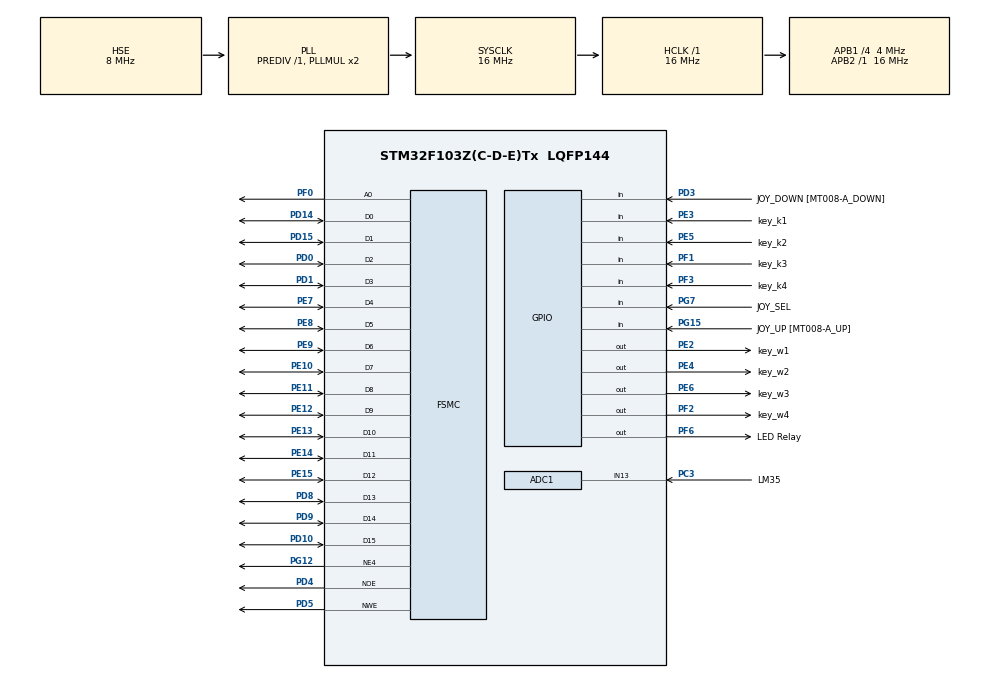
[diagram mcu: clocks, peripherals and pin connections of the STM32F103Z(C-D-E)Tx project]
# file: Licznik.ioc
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ADC1.Channel-1\#ChannelRegularConversion=ADC_CHANNEL_13
ADC1.NbrOfConversionFlag=1
ADC1.Rank-1\#ChannelRegularConversion=1
ADC1.SamplingTime-1\#ChannelRegularConversion=ADC_SAMPLETIME_1CYCLE_5
ADC1.master=1
Mcu.Family=STM32F1
Mcu.Name=STM32F103Z(C-D-E)Tx
Mcu.Package=LQFP144
NVIC.PriorityGroup=NVIC_PRIORITYGROUP_4
NVIC.TIM6_IRQn=true\:0\:0\:false\:false\:true\:true\:true
NVIC.TIM7_IRQn=true\:0\:0\:false\:false\:true\:true\:true
OSC_IN.Mode=HSE-External-Oscillator
OSC_IN.Signal=RCC_OSC_IN
OSC_OUT.Mode=HSE-External-Oscillator
OSC_OUT.Signal=RCC_OSC_OUT
PC3.GPIO_Label=LM35
PC3.Signal=ADCx_IN13
PD0.Signal=FSMC_D2_DA2
PD1.Signal=FSMC_D3_DA3
PD10.Signal=FSMC_D15_DA15
PD14.Signal=FSMC_D0_DA0
PD15.Signal=FSMC_D1_DA1
PD3.GPIO_Label=JOY_DOWN [MT008-A_DOWN]
PD3.GPIO_PuPd=GPIO_PULLUP
PD3.Signal=GPIO_Input
PD4.Signal=FSMC_NOE
PD5.Signal=FSMC_NWE
PD8.Signal=FSMC_D13_DA13
PD9.Signal=FSMC_D14_DA14
PE10.Signal=FSMC_D7_DA7
PE11.Signal=FSMC_D8_DA8
PE12.Signal=FSMC_D9_DA9
PE13.Signal=FSMC_D10_DA10
PE14.Signal=FSMC_D11_DA11
PE15.Signal=FSMC_D12_DA12
PE2.GPIO_Label=key_w1
PE2.Signal=GPIO_Output
PE3.GPIO_Label=key_k1
PE3.GPIO_PuPd=GPIO_PULLUP
PE3.Signal=GPIO_Input
PE4.GPIO_Label=key_w2
PE4.Signal=GPIO_Output
PE5.GPIO_Label=key_k2
PE5.GPIO_PuPd=GPIO_PULLUP
PE5.Signal=GPIO_Input
PE6.GPIO_Label=key_w3
PE6.Signal=GPIO_Output
PE7.Signal=FSMC_D4_DA4
PE8.Signal=FSMC_D5_DA5
PE9.Signal=FSMC_D6_DA6
PF0.Signal=FSMC_A0
PF1.GPIO_Label=key_k3
PF1.GPIO_PuPd=GPIO_PULLUP
PF1.Signal=GPIO_Input
PF2.GPIO_Label=key_w4
PF2.Signal=GPIO_Output
PF3.GPIO_Label=key_k4
PF3.GPIO_PuPd=GPIO_PULLUP
PF3.Signal=GPIO_Input
PF6.GPIO_Label=LED Relay
PF6.GPIO_ModeDefaultOutputPP=GPIO_MODE_OUTPUT_PP
PF6.PinState=GPIO_PIN_RESET
PF6.Signal=GPIO_Output
PG12.Mode=NorPsramChipSelect4_3
PG12.Signal=FSMC_NE4
PG15.GPIO_Label=JOY_UP [MT008-A_UP]
PG15.Signal=GPIO_Input
PG7.GPIO_Label=JOY_SEL
PG7.Signal=GPIO_Input
ProjectManager.HeapSize=0x200
ProjectManager.StackSize=0x400
ProjectManager.TargetToolchain=MDK-ARM V5.27
RCC.AHBFreq_Value=16000000
RCC.APB1CLKDivider=RCC_HCLK_DIV4
RCC.APB1Freq_Value=4000000
RCC.APB1TimFreq_Value=8000000
RCC.APB2Freq_Value=16000000
RCC.APB2TimFreq_Value=16000000
RCC.HCLKFreq_Value=16000000
RCC.PLLSourceVirtual=RCC_PLLSOURCE_HSE
RCC.SYSCLKFreq_VALUE=16000000
RCC.SYSCLKSource=RCC_SYSCLKSOURCE_PLLCLK
RCC.USBFreq_Value=16000000
SH.ADCx_IN13.0=ADC1_IN13,IN13
SH.FSMC_A0.0=FSMC_A0,A0_3
SH.FSMC_D0_DA0.0=FSMC_D0,16b-d3
SH.FSMC_D10_DA10.0=FSMC_D10,16b-d3
SH.FSMC_D11_DA11.0=FSMC_D11,16b-d3
SH.FSMC_D12_DA12.0=FSMC_D12,16b-d3
SH.FSMC_D13_DA13.0=FSMC_D13,16b-d3
SH.FSMC_D14_DA14.0=FSMC_D14,16b-d3
SH.FSMC_D15_DA15.0=FSMC_D15,16b-d3
SH.FSMC_D1_DA1.0=FSMC_D1,16b-d3
SH.FSMC_D2_DA2.0=FSMC_D2,16b-d3
SH.FSMC_D3_DA3.0=FSMC_D3,16b-d3
SH.FSMC_D4_DA4.0=FSMC_D4,16b-d3
SH.FSMC_D5_DA5.0=FSMC_D5,16b-d3
SH.FSMC_D6_DA6.0=FSMC_D6,16b-d3
SH.FSMC_D7_DA7.0=FSMC_D7,16b-d3
SH.FSMC_D8_DA8.0=FSMC_D8,16b-d3
SH.FSMC_D9_DA9.0=FSMC_D9,16b-d3
SH.FSMC_NOE.0=FSMC_NOE,Lcd3
SH.FSMC_NWE.0=FSMC_NWE,Lcd3
TIM6.Period=7999
TIM6.Prescaler=4999
TIM7.Period=7999
TIM7.Prescaler=9
VP_SYS_VS_ND.Mode=No_Debug
VP_TIM6_VS_ClockSourceINT.Mode=Enable_Timer
VP_TIM7_VS_ClockSourceINT.Mode=Enable_Timer
board=custom

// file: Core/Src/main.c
/* USER CODE BEGIN Header */
/**
  ******************************************************************************
  * @file           : main.c
  * @brief          : Main program body
  ******************************************************************************
  * @attention
  *
  * <h2><center>&copy; Copyright (c) 2021 STMicroelectronics.
  * All rights reserved.</center></h2>
  *
  * This software component is licensed by ST under BSD 3-Clause license,
  * the "License"; You may not use this file except in compliance with the
  * License. You may obtain a copy of the License at:
  *                        opensource.org/licenses/BSD-3-Clause
  *
  ******************************************************************************
  */
/* USER CODE END Header */
#include "main.h"

/* USER CODE BEGIN Includes */
#include "lcd.h"
#include "stdio.h"
/* USER CODE END Includes */

/* USER CODE BEGIN PM */
#define Title1 "       SYSTEM       "
#define Title2 "     OGRZEWANIA     "
/* USER CODE END PM */

ADC_HandleTypeDef hadc1;

TIM_HandleTypeDef htim6;
TIM_HandleTypeDef htim7;

SRAM_HandleTypeDef hsram3;

void SystemClock_Config(void);
static void MX_GPIO_Init(void);
static void MX_TIM7_Init(void);
static void MX_FSMC_Init(void);
static void MX_ADC1_Init(void);
static void MX_TIM6_Init(void);

/* USER CODE BEGIN 0 */
volatile uint8_t JOY_UP=0, JOY_DOWN=0, JOY_SEL=0;
volatile float temperatura_C;
volatile uint8_t znak=0;
volatile uint8_t symbol=99;
volatile uint8_t klawisz_0=0;
volatile uint8_t klawisz_1=0;
volatile uint8_t klawisz_2=0;
volatile uint8_t klawisz_3=0;
volatile uint8_t klawisz_4=0;
volatile uint8_t klawisz_5=0;
volatile uint8_t klawisz_6=0;
volatile uint8_t klawisz_7=0;
volatile uint8_t klawisz_8=0;
volatile uint8_t klawisz_9=0;
volatile uint8_t klawisz_A=0;
volatile uint8_t klawisz_B=0;
volatile uint8_t klawisz_C=0;
volatile uint8_t klawisz_D=0;
volatile uint8_t klawisz_K=0;
volatile uint8_t klawisz_G=0;
volatile uint8_t n=0;
/* USER CODE END 0 */

int main(void)
{

  /* MCU Configuration--------------------------------------------------------*/

  /* Reset of all peripherals, Initializes the Flash interface and the Systick. */
  HAL_Init();

  /* Configure the system clock */
  SystemClock_Config();

  /* Initialize all configured peripherals */
  MX_GPIO_Init();
  MX_TIM7_Init();
  MX_FSMC_Init();
  MX_ADC1_Init();
  MX_TIM6_Init();
  /* USER CODE BEGIN 2 */
	HAL_TIM_Base_Start_IT(&htim7);
	HAL_TIM_Base_Start(&htim7);
	HAL_ADC_Start(&hadc1);
	//while(HAL_ADCEx_Calibration_Start(&hadc1) != HAL_OK);
	HAL_TIM_Base_Start_IT(&htim6);
	HAL_TIM_Base_Start(&htim6);

	float licznik=20;
	float histereza=5;
	uint8_t temp_zad[20];
	uint8_t temp_akt[20];
	uint8_t histereza_disp[20];
	uint8_t z=0;

	STM3210E_LCD_Init();
	LCD_Clear(Black);
  LCD_SetBackColor(Black);
	LCD_SetTextColor(Green);
	LCD_DisplayStringLine(Line0, Title1);
	LCD_DisplayStringLine(Line1, Title2);
  LCD_SetBackColor(Black);                        // Set the Back Color */
  LCD_SetTextColor(Red);
	snprintf((char *)temp_zad, 20, "Temp. Zad. : %.1f*C   ", licznik);
	LCD_DisplayStringLine(Line3, temp_zad);
	snprintf((char *)histereza_disp, 20, "Histereza : %.1f*C   ", histereza);
	LCD_DisplayStringLine(Line7, histereza_disp);
  /* USER CODE END 2 */

  /* Infinite loop */
  /* USER CODE BEGIN WHILE */
  while (1)
  {
		//klawiatura
		if (symbol == 10)
		{
			LCD_SetBackColor(Black);
			LCD_DisplayStringLine(Line3, temp_zad);
			LCD_SetBackColor(White);
			LCD_DisplayStringLine(Line7, histereza_disp);
				switch (n) {
					case 1 :
						histereza=0.1*znak;
						z=0;
					break;
					case 2 :
						if (!(z&1)){
						histereza *= 10;
						histereza += 0.1*znak;
						z++;
						}
					break;
					case 3:
						if(z&1){
						histereza *= 10;
						histereza += 0.1*znak;
						z++;
						n=0;
						}
					break;
				}
				snprintf((char *)histereza_disp, 20, "Histereza : %.1f*C   ", histereza);
				LCD_DisplayStringLine(Line7, histereza_disp);
		}

		if (symbol == 11)
		{
			LCD_SetBackColor(White);
			LCD_DisplayStringLine(Line3, temp_zad);
			LCD_SetBackColor(Black);
			LCD_DisplayStringLine(Line7, histereza_disp);
				switch (n) {
					case 1 :
						licznik=0.1*znak;
						z=0;
					break;
					case 2 :
						if (!(z&1)){
						licznik *= 10;
						licznik += 0.1*znak;
						z++;
						}
					break;
					case 3:
						if(z&1){
						licznik *= 10;
						licznik += 0.1*znak;
						z++;
						n=0;
						}
					break;
				}
				LCD_SetBackColor(White);
				snprintf((char *)temp_zad, 20, "Temp. Zad. : %.1f*C   ", licznik);
				LCD_DisplayStringLine(Line3, temp_zad);
		}
		if(symbol !=10 && symbol !=11){
			znak=0;
			n=0;
			LCD_SetBackColor(Black);
			LCD_DisplayStringLine(Line3, temp_zad);
			LCD_SetBackColor(Black);
			LCD_DisplayStringLine(Line7, histereza_disp);
		}

			LCD_SetBackColor(Black);
			snprintf((char *)temp_akt, 20, "Temp. Akt. : %.1f*C     ", temperatura_C);
			LCD_DisplayStringLine(Line5, temp_akt);

		if (temperatura_C<licznik-histereza)
			GPIOF->ODR |= (1<<6);
		if (temperatura_C>licznik+histereza)
			GPIOF->ODR &= ~(1<<6);
		}
    /* USER CODE END WHILE */

}

void SystemClock_Config(void)
{
  RCC_OscInitTypeDef RCC_OscInitStruct = {0};
  RCC_ClkInitTypeDef RCC_ClkInitStruct = {0};
  RCC_PeriphCLKInitTypeDef PeriphClkInit = {0};

  /** Initializes the RCC Oscillators according to the specified parameters
  * in the RCC_OscInitTypeDef structure.
  */
  RCC_OscInitStruct.OscillatorType = RCC_OSCILLATORTYPE_HSE;
  RCC_OscInitStruct.HSEState = RCC_HSE_ON;
  RCC_OscInitStruct.HSEPredivValue = RCC_HSE_PREDIV_DIV1;
  RCC_OscInitStruct.HSIState = RCC_HSI_ON;
  RCC_OscInitStruct.PLL.PLLState = RCC_PLL_ON;
  RCC_OscInitStruct.PLL.PLLSource = RCC_PLLSOURCE_HSE;
  RCC_OscInitStruct.PLL.PLLMUL = RCC_PLL_MUL2;
  if (HAL_RCC_OscConfig(&RCC_OscInitStruct) != HAL_OK)
  {
    Error_Handler();
  }
  /** Initializes the CPU, AHB and APB buses clocks
  */
  RCC_ClkInitStruct.ClockType = RCC_CLOCKTYPE_HCLK|RCC_CLOCKTYPE_SYSCLK
                              |RCC_CLOCKTYPE_PCLK1|RCC_CLOCKTYPE_PCLK2;
  RCC_ClkInitStruct.SYSCLKSource = RCC_SYSCLKSOURCE_PLLCLK;
  RCC_ClkInitStruct.AHBCLKDivider = RCC_SYSCLK_DIV1;
  RCC_ClkInitStruct.APB1CLKDivider = RCC_HCLK_DIV4;
  RCC_ClkInitStruct.APB2CLKDivider = RCC_HCLK_DIV1;

  if (HAL_RCC_ClockConfig(&RCC_ClkInitStruct, FLASH_LATENCY_0) != HAL_OK)
  {
    Error_Handler();
  }
  PeriphClkInit.PeriphClockSelection = RCC_PERIPHCLK_ADC;
  PeriphClkInit.AdcClockSelection = RCC_ADCPCLK2_DIV2;
  if (HAL_RCCEx_PeriphCLKConfig(&PeriphClkInit) != HAL_OK)
  {
    Error_Handler();
  }
}

static void MX_ADC1_Init(void)
{

  ADC_ChannelConfTypeDef sConfig = {0};

  /** Common config
  */
  hadc1.Instance = ADC1;
  hadc1.Init.ScanConvMode = ADC_SCAN_DISABLE;
  hadc1.Init.ContinuousConvMode = DISABLE;
  hadc1.Init.DiscontinuousConvMode = DISABLE;
  hadc1.Init.ExternalTrigConv = ADC_SOFTWARE_START;
  hadc1.Init.DataAlign = ADC_DATAALIGN_RIGHT;
  hadc1.Init.NbrOfConversion = 1;
  if (HAL_ADC_Init(&hadc1) != HAL_OK)
  {
    Error_Handler();
  }
  /** Configure Regular Channel
  */
  sConfig.Channel = ADC_CHANNEL_13;
  sConfig.Rank = ADC_REGULAR_RANK_1;
  sConfig.SamplingTime = ADC_SAMPLETIME_1CYCLE_5;
  if (HAL_ADC_ConfigChannel(&hadc1, &sConfig) != HAL_OK)
  {
    Error_Handler();
  }

}

static void MX_TIM6_Init(void)
{

  TIM_MasterConfigTypeDef sMasterConfig = {0};

  htim6.Instance = TIM6;
  htim6.Init.Prescaler = 4999;
  htim6.Init.CounterMode = TIM_COUNTERMODE_UP;
  htim6.Init.Period = 7999;
  htim6.Init.AutoReloadPreload = TIM_AUTORELOAD_PRELOAD_DISABLE;
  if (HAL_TIM_Base_Init(&htim6) != HAL_OK)
  {
    Error_Handler();
  }
  sMasterConfig.MasterOutputTrigger = TIM_TRGO_RESET;
  sMasterConfig.MasterSlaveMode = TIM_MASTERSLAVEMODE_DISABLE;
  if (HAL_TIMEx_MasterConfigSynchronization(&htim6, &sMasterConfig) != HAL_OK)
  {
    Error_Handler();
  }

}

static void MX_TIM7_Init(void)
{

  TIM_MasterConfigTypeDef sMasterConfig = {0};

  htim7.Instance = TIM7;
  htim7.Init.Prescaler = 9;
  htim7.Init.CounterMode = TIM_COUNTERMODE_UP;
  htim7.Init.Period = 7999;
  htim7.Init.AutoReloadPreload = TIM_AUTORELOAD_PRELOAD_DISABLE;
  if (HAL_TIM_Base_Init(&htim7) != HAL_OK)
  {
    Error_Handler();
  }
  sMasterConfig.MasterOutputTrigger = TIM_TRGO_RESET;
  sMasterConfig.MasterSlaveMode = TIM_MASTERSLAVEMODE_DISABLE;
  if (HAL_TIMEx_MasterConfigSynchronization(&htim7, &sMasterConfig) != HAL_OK)
  {
    Error_Handler();
  }

}

static void MX_GPIO_Init(void)
{
  GPIO_InitTypeDef GPIO_InitStruct = {0};

  /* GPIO Ports Clock Enable */
  __HAL_RCC_GPIOE_CLK_ENABLE();
  __HAL_RCC_GPIOF_CLK_ENABLE();
  __HAL_RCC_GPIOC_CLK_ENABLE();
  __HAL_RCC_GPIOD_CLK_ENABLE();
  __HAL_RCC_GPIOG_CLK_ENABLE();

  /*Configure GPIO pin Output Level */
  HAL_GPIO_WritePin(GPIOE, key_w1_Pin|key_w2_Pin|key_w3_Pin, GPIO_PIN_RESET);

  /*Configure GPIO pin Output Level */
  HAL_GPIO_WritePin(GPIOF, key_w4_Pin|LED_Relay_Pin, GPIO_PIN_RESET);

  /*Configure GPIO pins : key_w1_Pin key_w2_Pin key_w3_Pin */
  GPIO_InitStruct.Pin = key_w1_Pin|key_w2_Pin|key_w3_Pin;
  GPIO_InitStruct.Mode = GPIO_MODE_OUTPUT_PP;
  GPIO_InitStruct.Pull = GPIO_NOPULL;
  GPIO_InitStruct.Speed = GPIO_SPEED_FREQ_LOW;
  HAL_GPIO_Init(GPIOE, &GPIO_InitStruct);

  /*Configure GPIO pins : key_k1_Pin key_k2_Pin */
  GPIO_InitStruct.Pin = key_k1_Pin|key_k2_Pin;
  GPIO_InitStruct.Mode = GPIO_MODE_INPUT;
  GPIO_InitStruct.Pull = GPIO_PULLUP;
  HAL_GPIO_Init(GPIOE, &GPIO_InitStruct);

  /*Configure GPIO pins : key_k3_Pin key_k4_Pin */
  GPIO_InitStruct.Pin = key_k3_Pin|key_k4_Pin;
  GPIO_InitStruct.Mode = GPIO_MODE_INPUT;
  GPIO_InitStruct.Pull = GPIO_PULLUP;
  HAL_GPIO_Init(GPIOF, &GPIO_InitStruct);

  /*Configure GPIO pins : key_w4_Pin LED_Relay_Pin */
  GPIO_InitStruct.Pin = key_w4_Pin|LED_Relay_Pin;
  GPIO_InitStruct.Mode = GPIO_MODE_OUTPUT_PP;
  GPIO_InitStruct.Pull = GPIO_NOPULL;
  GPIO_InitStruct.Speed = GPIO_SPEED_FREQ_LOW;
  HAL_GPIO_Init(GPIOF, &GPIO_InitStruct);

  /*Configure GPIO pins : JOY_SEL_Pin JOY_UP_Pin */
  GPIO_InitStruct.Pin = JOY_SEL_Pin|JOY_UP_Pin;
  GPIO_InitStruct.Mode = GPIO_MODE_INPUT;
  GPIO_InitStruct.Pull = GPIO_NOPULL;
  HAL_GPIO_Init(GPIOG, &GPIO_InitStruct);

  /*Configure GPIO pin : JOY_DOWN_Pin */
  GPIO_InitStruct.Pin = JOY_DOWN_Pin;
  GPIO_InitStruct.Mode = GPIO_MODE_INPUT;
  GPIO_InitStruct.Pull = GPIO_PULLUP;
  HAL_GPIO_Init(JOY_DOWN_GPIO_Port, &GPIO_InitStruct);

}

/* FSMC initialization function */
static void MX_FSMC_Init(void)
{

  FSMC_NORSRAM_TimingTypeDef Timing = {0};

  /** Perform the SRAM3 memory initialization sequence
  */
  hsram3.Instance = FSMC_NORSRAM_DEVICE;
  hsram3.Extended = FSMC_NORSRAM_EXTENDED_DEVICE;
  /* hsram3.Init */
  hsram3.Init.NSBank = FSMC_NORSRAM_BANK4;
  hsram3.Init.DataAddressMux = FSMC_DATA_ADDRESS_MUX_DISABLE;
  hsram3.Init.MemoryType = FSMC_MEMORY_TYPE_SRAM;
  hsram3.Init.MemoryDataWidth = FSMC_NORSRAM_MEM_BUS_WIDTH_16;
  hsram3.Init.BurstAccessMode = FSMC_BURST_ACCESS_MODE_DISABLE;
  hsram3.Init.WaitSignalPolarity = FSMC_WAIT_SIGNAL_POLARITY_LOW;
  hsram3.Init.WrapMode = FSMC_WRAP_MODE_DISABLE;
  hsram3.Init.WaitSignalActive = FSMC_WAIT_TIMING_BEFORE_WS;
  hsram3.Init.WriteOperation = FSMC_WRITE_OPERATION_ENABLE;
  hsram3.Init.WaitSignal = FSMC_WAIT_SIGNAL_DISABLE;
  hsram3.Init.ExtendedMode = FSMC_EXTENDED_MODE_DISABLE;
  hsram3.Init.AsynchronousWait = FSMC_ASYNCHRONOUS_WAIT_DISABLE;
  hsram3.Init.WriteBurst = FSMC_WRITE_BURST_DISABLE;
  /* Timing */
  Timing.AddressSetupTime = 15;
  Timing.AddressHoldTime = 15;
  Timing.DataSetupTime = 255;
  Timing.BusTurnAroundDuration = 15;
  Timing.CLKDivision = 16;
  Timing.DataLatency = 17;
  Timing.AccessMode = FSMC_ACCESS_MODE_A;
  /* ExtTiming */

  if (HAL_SRAM_Init(&hsram3, &Timing, NULL) != HAL_OK)
  {
    Error_Handler( );
  }

  /** Disconnect NADV
  */

  __HAL_AFIO_FSMCNADV_DISCONNECTED();

}

/* USER CODE BEGIN 4 */
//void HAL_TIM_PeriodElapsedCallback(TIM_HandleTypeDef *htim)
//{
//	  HAL_GPIO_TogglePin(GPIOF, LEDF7_Pin);
//	}
/* USER CODE END 4 */

void Error_Handler(void)
{
  __disable_irq();
  while (1)
  {
  }
}

/************************ (C) COPYRIGHT STMicroelectronics *****END OF FILE****/
